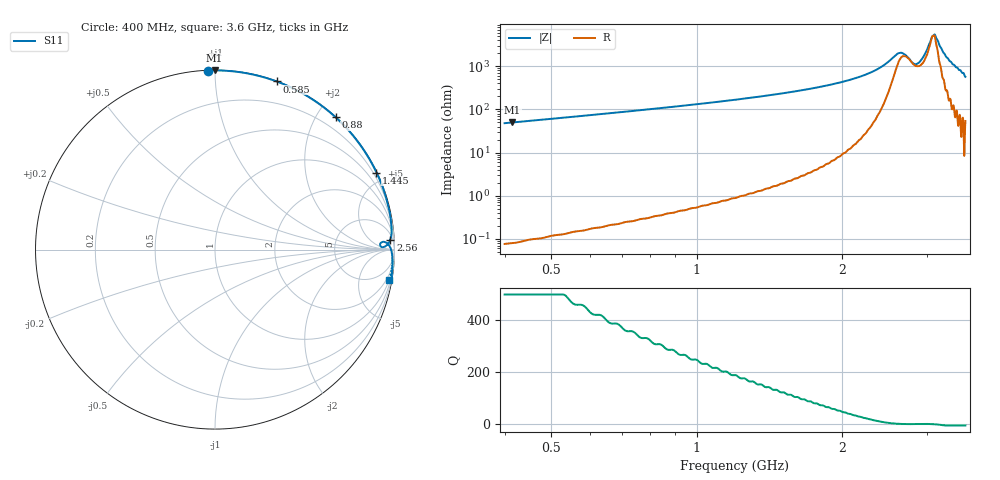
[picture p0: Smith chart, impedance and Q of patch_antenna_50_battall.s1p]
! patch_antenna_50_battall
! simulated by sim/rf_fdtd.py
# HZ S RI R 50
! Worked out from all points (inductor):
!   641 points, 400 MHz to 3.6 GHz, reference 50 ohm
!   read as one part to ground: L = 18.8 nH near 415 MHz
!   highest Q = 623 at 415 MHz (marker M1), where L = 19.1 nH
!   self-resonance near 3.082 GHz
!   S11 on the Smith chart (normalised r, x): 400 MHz: 0.00, +0.96; 585 MHz: 0.00, +1.43; 880 MHz: 0.01, +2.26; 1.445 GHz: 0.03, +4.42; 2.56 GHz: 12, +31; 3.6 GHz: 1, -11
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4e8  -0.0402 0.9976
4.15e8  -0.00216 0.9984
4.55e8  0.0932 0.9939
5e8  0.1899 0.9799
5.85e8  0.3442 0.9367
6.35e8  0.4197 0.9053
6.85e8  0.4855 0.8717
7.4e8  0.5482 0.8335
8e8  0.6068 0.7918
8.8e8  0.6718 0.7373
1.025e9  0.7607 0.6449
1.2e9  0.8342 0.5462
1.445e9  0.8995 0.4294
1.6e9  0.927 0.3657
2e9  0.9692 0.2263
2.4e9  0.984 0.1046
2.56e9  0.9768 0.0546
2.715e9  0.9476 0.0174
2.765e9  0.9328 0.0132
2.8e9  0.9222 0.0199
2.835e9  0.92 0.0317
2.875e9  0.9298 0.0413
2.935e9  0.9512 0.0401
3.06e9  0.9788 0.00729
3.2e9  0.9867 -0.0335
3.515e9  0.9842 -0.1213
3.565e9  0.9806 -0.1397
3.6e9  0.9688 -0.1704
